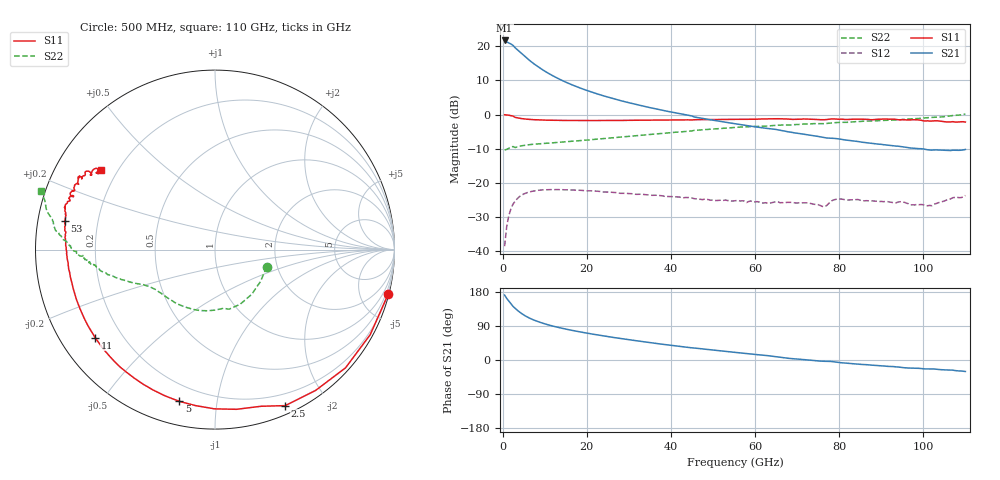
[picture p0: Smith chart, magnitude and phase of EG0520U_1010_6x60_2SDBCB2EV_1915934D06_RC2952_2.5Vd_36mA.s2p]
!File name = EG0520U_1010_6x60_2SDBCB2EV_1915934D06_RC2952_2.5Vd_36mA.s2p
!Base file name = EG0520U_1010_6x60_2SDBCB2EV_1915934D06_RC2952
!Date = 8/23/2019
!Time = 1:13 PM
!Test duration(min) = 0.15
!Test = S-Parameters
!MPTS version = 8.91.5
!State File = C:\Data\PNA\20190821205423\S-Parameters_2019-08-23.sta
!Cal File =
!ComputerName = CMPE-LAB-6
!Comments =
!Attenuation = 0
!Z0 = 50
!Input Power(dBm) = -13.00
!Device ID = EG0520U_1010_6x60_2SDBCB2EV
!Row = 29
!Column = 52
!Technology = QPHT09
!Lot/Wafer = 1915934D06
!Gate Size = 360
!Mask = EG0520
!Cal Standards = GaAs BCB
!Cal Kit = EG2306
!Job Number = 20190821205423
!Device Type = FET
!set_Vg(v) = -1.500
!set_Vd(v) = 2.500
!set_Vd(mA) = 36.000
!file_name = EG0520U_1010_6x60_2SDBCB2EV_1915934D06_RC2952_2.5Vd_36mA.s2p
!Vd(V) = 2.500
!Vd(mA) = 35.823
!Vg(V) = -0.493
!Vg(mA) = -0.001
# GHz  S  DB  R  50
!%	Freq(GHz)  s11(dB)  s11(deg)  s21(dB)  s21(deg)  s12(dB)  s12(deg)  s22(dB)  s22(deg)
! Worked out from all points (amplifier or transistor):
!   220 points, 500 MHz to 110 GHz, reference 50 ohm
!   highest |S21| = 21.7 dB at 500 MHz (marker M1)
!   |S21| within 3 dB of that: start of sweep to 3.785 GHz
!   unconditionally stable (mu >= 1): 34.5 GHz to 103.4 GHz
!   at 18.5 GHz: K = 0.52, MSG = 14.9 dB, |S12| = -22.1 dB
!   at 55.5 GHz: K = 1.46, MAG = 7.2 dB, |S12| = -25.2 dB
!   at 110 GHz: K = -1.25, MSG = 6.7 dB, |S12| = -23.7 dB
!   S11 on the Smith chart (normalised r, x): 500 MHz: 0.12, -7.84; 2.5 GHz: 0.08, -1.54; 5 GHz: 0.11, -0.79; 11 GHz: 0.10, -0.32; 53 GHz: 0.08, +0.09; 110 GHz: 0.14, +0.31
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0.5  -0.03 -14.5  21.70 171.2  -38.49 81.4  -10.35 -18.5
1  -0.12 -28.7  21.30 162.6  -32.71 73.7  -10.18 -35.2
1.5  -0.16 -42.2  20.96 155.5  -29.55 66.3  -9.83 -50.7
2  -0.32 -54.4  20.68 148.0  -27.55 59.4  -9.50 -65.3
2.5  -0.41 -65.8  20.25 141.6  -26.18 53.7  -9.34 -76.7
3.5  -0.94 -82.3  19.02 131.4  -24.60 44.9  -9.44 -90.0
4.5  -1.15 -97.1  17.89 122.8  -23.59 37.4  -9.13 -103.6
5  -1.22 -103.2  17.34 119.2  -23.25 34.4  -9.03 -109.0
6  -1.36 -113.8  16.29 112.8  -22.77 29.3  -8.86 -117.6
7.5  -1.49 -125.8  14.83 105.2  -22.34 23.4  -8.63 -127.0
9  -1.56 -134.6  13.54 99.2  -22.07 19.0  -8.51 -133.0
11  -1.64 -143.7  12.02 92.3  -21.95 14.4  -8.34 -139.1
14.5  -1.71 -154.8  9.80 82.8  -21.98 8.8  -8.00 -145.6
19  -1.73 -164.0  7.53 73.0  -22.19 4.1  -7.54 -150.4
26.5  -1.70 -173.7  4.61 59.2  -22.76 0.1  -6.73 -155.3
37  -1.59 178.1  1.54 43.0  -23.63 -1.6  -5.60 -160.5
53  -1.40 169.1  -2.24 22.6  -24.98 0.1  -3.96 -168.6
55.5  -1.39 167.7  -2.71 19.8  -25.17 -0.9  -3.73 -169.8
73.5  -1.36 159.7  -6.11 -0.9  -26.08 -2.1  -2.65 -176.6
92  -1.35 151.5  -9.00 -17.0  -25.58 -12.6  -1.63 176.9
102  -1.88 148.7  -10.40 -23.9  -26.66 -10.2  -0.81 171.0
110  -2.18 145.0  -10.20 -30.3  -23.66 -14.0  0.21 161.5
